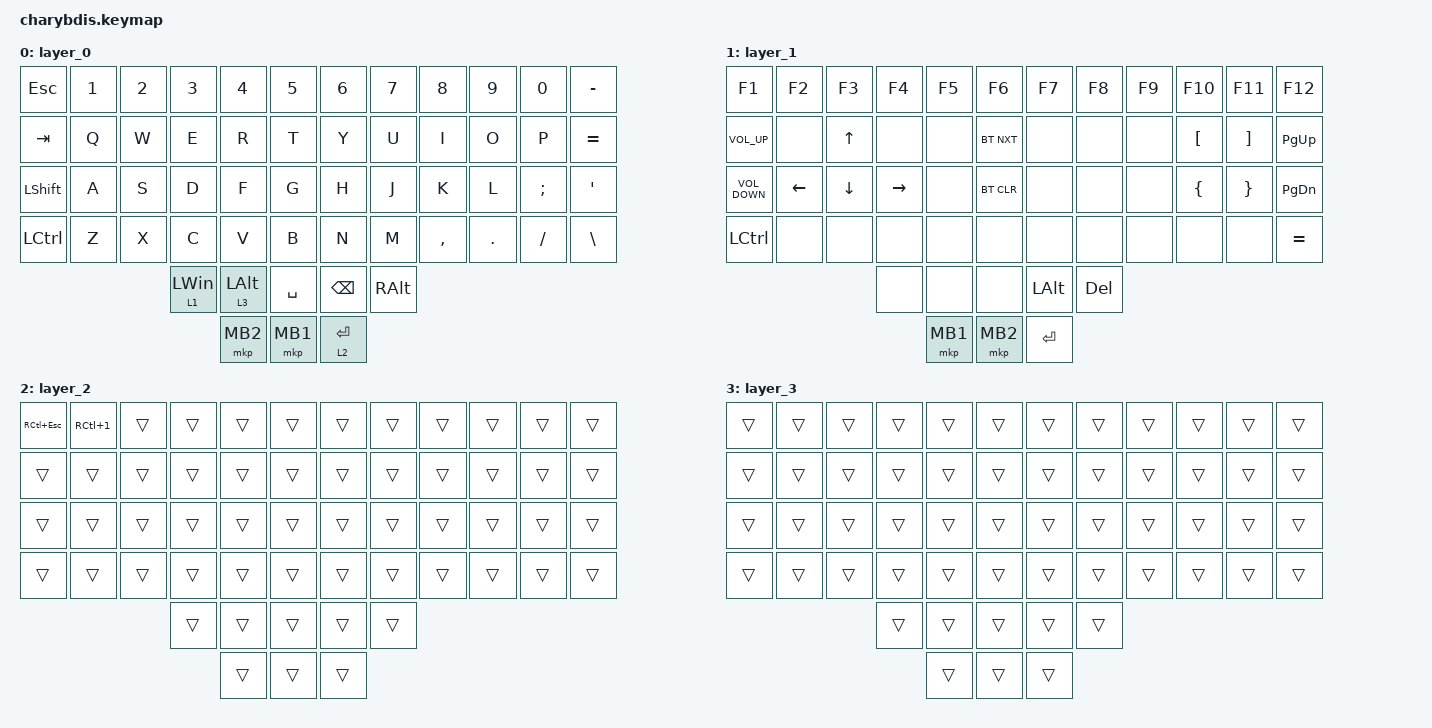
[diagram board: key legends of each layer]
#include <dt-bindings/zmk/mouse.h>
#include <behaviors.dtsi>
#include <dt-bindings/zmk/bt.h>
#include <dt-bindings/zmk/keys.h>
#include <dt-bindings/zmk/pointing.h>
#include <input/processors.dtsi>
#include <dt-bindings/zmk/input_transform.h>
#include <zephyr/dt-bindings/input/input-event-codes.h>

&lt {
    tapping-term-ms = <200>;
    flavor = "balanced";
    quick-tap-ms = <150>;
};

/ {
    keymap {
        compatible = "zmk,keymap";


input_processors {
    /* Vertical-only scroll mapper:
     * Map both X and Y relative movements to vertical wheel (WHEEL).
     * This disables horizontal wheel events entirely in scroll mode.
     */
    zip_xy_to_vscroll_mapper: zip_xy_to_vscroll_mapper {
        compatible = "zmk,input-processor-code-mapper";
        #input-processor-cells = <0>;
        type = <INPUT_EV_REL>;
        map = <INPUT_REL_X INPUT_REL_WHEEL
               INPUT_REL_Y INPUT_REL_WHEEL>;
    };
};


        layer_0 {
            bindings = <
&kp ESC         &kp N1  &kp N2  &kp N3          &kp N4        &kp N5       &kp N6         &kp N7         &kp N8     &kp N9   &kp N0    &kp MINUS
&kp TAB         &kp Q   &kp W   &kp E           &kp R         &kp T        &kp Y          &kp U          &kp I      &kp O    &kp P     &kp EQUAL
&kp LEFT_SHIFT  &kp A   &kp S   &kp D           &kp F         &kp G        &kp H          &kp J          &kp K      &kp L    &kp SEMI  &kp SQT
&kp LCTRL       &kp Z   &kp X   &kp C           &kp V         &kp B        &kp N          &kp M          &kp COMMA  &kp DOT  &kp FSLH  &kp BACKSLASH
                                &lt 1 LEFT_WIN  &lt 3 LEFT_ALT  &kp SPACE    &kp BACKSPACE  &kp RIGHT_ALT
                                                &mkp MB2      &mkp MB1     &lt 2 ENTER
            >;
        };

        layer_1 {
            bindings = <
&kp F1             &kp F2    &kp F3    &kp F4     &kp F5    &kp F6        &kp F7     &kp F8      &kp F9  &kp F10           &kp F11            &kp F12
&kp C_VOLUME_UP    &none    &kp UP    &none      &none     &bt BT_NXT    &none      &none       &none   &kp LEFT_BRACKET  &kp RIGHT_BRACKET  &kp PAGE_UP
&kp C_VOLUME_DOWN  &kp LEFT  &kp DOWN  &kp RIGHT  &none     &bt BT_CLR    &none      &none       &none   &kp LEFT_BRACE    &kp RIGHT_BRACE    &kp PAGE_DOWN
&kp LCTRL          &none     &none     &none      &none     &none         &none      &none       &none   &none             &none              &kp EQUAL
                                       &none      &none     &none         &kp LALT   &kp DELETE
                                                  &mkp MB1  &mkp MB2      &kp ENTER
            >;
        };

        layer_2 {
            bindings = <
&kp RC(ESC)  &kp RC(NUMBER_1)  &trans  &trans  &trans  &trans    &trans  &trans  &trans  &trans  &trans  &trans
&trans       &trans            &trans  &trans  &trans  &trans    &trans  &trans  &trans  &trans  &trans  &trans
&trans       &trans            &trans  &trans  &trans  &trans    &trans  &trans  &trans  &trans  &trans  &trans
&trans       &trans            &trans  &trans  &trans  &trans    &trans  &trans  &trans  &trans  &trans  &trans
                                       &trans  &trans  &trans    &trans  &trans
                                               &trans  &trans    &trans
            >;
        };

        layer_3 {
            bindings = <
&trans  &trans  &trans  &trans  &trans  &trans    &trans  &trans  &trans  &trans  &trans  &trans
&trans  &trans  &trans  &trans  &trans  &trans    &trans  &trans  &trans  &trans  &trans  &trans
&trans  &trans  &trans  &trans  &trans  &trans    &trans  &trans  &trans  &trans  &trans  &trans
&trans  &trans  &trans  &trans  &trans  &trans    &trans  &trans  &trans  &trans  &trans  &trans
                                       &trans  &trans  &trans    &trans  &trans
                                               &trans  &trans    &trans
            >;
        };

        /* layer_2 {
            bindings = <
&none  &none   &none    &none   &none         &none         &kp N1         &none         &none     &none  &none   &to 0
&none  &none   &none    &none   &none         &none         &none         &none          &rgb_ug RGB_BRD &rgb_ug RGB_BRI  &rgb_ug RGB_EFF   &rgb_ug RGB_TOG
&none  &none   &none    &none   &none         &none         &none         &mkp LCLK     &mkp RCLK  &none  &none   &none
&none  &none   &none    &none   &bt BT_NXT  &bt BT_CLR    &none         &none         &none     &none  &none   &none
                                   &none         &none         &none         &none         &none
                                                 &none         &none         &none
            >;
        };

       Mouse {
            bindings = <
&none        &none         &none         &none         &none      &none         &none       &none      &none         &none         &none         &none
&none        &bt BT_SEL 0  &bt BT_SEL 1  &bt BT_SEL 3  &none      &bt BT_CLR    &bt BT_CLR  &none      &bt BT_SEL 2  &bt BT_SEL 1  &bt BT_SEL 0  &none
&none        &trans        &trans        &mkp MCLK     &trans     &none         &none       &trans     &mkp MCLK     &trans        &trans        &none
&bootloader  &trans        &mkp RCLK     &mo 4         &mkp LCLK  &mo 5         &mo 5       &mkp LCLK  &mo 4         &mkp RCLK     &trans        &bootloader
                                         &mo 5         &mkp LCLK  &mkp RCLK     &mkp RCLK   &mkp LCLK
                                                       &none      &trans        &trans
            >;

            
        };

        layer_4 {
            bindings = <
&trans  &trans  &trans     &trans     &trans     &trans       &trans     &trans     &trans     &trans     &trans  &trans
&trans  &trans  &trans     &trans     &trans     &trans       &trans     &trans     &trans     &trans     &trans  &trans
&trans  &trans  &trans     &mkp MCLK  &trans     &trans       &trans     &trans     &mkp MCLK  &trans     &trans  &trans
&trans  &trans  &mkp RCLK  &trans     &mkp LCLK  &trans       &trans     &mkp LCLK  &trans     &mkp RCLK  &trans  &trans
                           &trans     &mkp LCLK  &mkp RCLK    &mkp RCLK  &mkp LCLK
                                      &trans     &trans       &trans
            >;
        };

        layer_5 {
            bindings = <
&trans  &trans  &trans     &trans     &trans     &trans       &trans     &trans     &trans     &trans     &trans  &trans
&trans  &trans  &trans     &trans     &trans     &trans       &trans     &trans     &trans     &trans     &trans  &trans
&trans  &trans  &trans     &mkp MCLK  &trans     &trans       &trans     &trans     &mkp MCLK  &trans     &trans  &trans
&trans  &trans  &mkp RCLK  &trans     &mkp LCLK  &trans       &trans     &mkp LCLK  &trans     &mkp RCLK  &trans  &trans
                           &trans     &mkp LCLK  &mkp RCLK    &mkp RCLK  &mkp LCLK
                                      &trans     &trans       &trans
            >;
        };*/
    };
};


/* Trackball input processing
 * - Base (Layer 0): cursor move with mild scaling
 * - Layer 1: scroll mode (Y=vertical wheel, X=horizontal wheel)
 * - Layer 3: precision mode (slower cursor)
 */
&trackball_listener {
    /* Base cursor speed tweak (adjust these numbers if needed) */
    input-processors = <&zip_xy_scaler 3 2>;

    scroller {
        layers = <1>;
        /* X/Y -> HWHEEL/WHEEL, then scale scroll speed down a bit */
        input-processors = <&zip_x_scaler 1 1>, <&zip_y_scaler 1 16>, <&zip_xy_to_vscroll_mapper>, <&zip_scroll_transform INPUT_TRANSFORM_Y_INVERT>, <&zip_scroll_scaler 1 4>;
};

    precision {
        layers = <3>;
        /* Slow down cursor while precision layer is held */
        input-processors = <&zip_xy_scaler 1 3>;
    };
};

